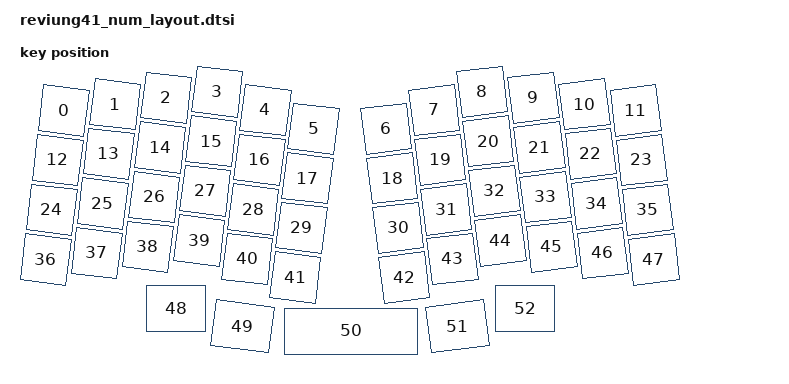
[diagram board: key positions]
#include <physical_layouts.dtsi>

/ {
    reviung41_num_layout: reviung41_num_layout {
        compatible = "zmk,physical-layout";
        display-name = "reviung41#";

        kscan = <&kscan_0>;
        transform = <&matrix_transform_0>;

        keys  //                     w   h    x    y     rot    rx    ry
            = <&key_physical_attrs 100 100    0   75     700   400   335>
            , <&key_physical_attrs 100 100  100   50     700   400   335>
            , <&key_physical_attrs 100 100  200   25     700   400   335>
            , <&key_physical_attrs 100 100  300    0     700   400   335>
            , <&key_physical_attrs 100 100  400   25     700   400   335>
            , <&key_physical_attrs 100 100  500   50     700   400   335>
            , <&key_physical_attrs 100 100  700   50  (-700)   900   335>
            , <&key_physical_attrs 100 100  800   25  (-700)   900   335>
            , <&key_physical_attrs 100 100  900    0  (-700)   900   335>
            , <&key_physical_attrs 100 100 1000   25  (-700)   900   335>
            , <&key_physical_attrs 100 100 1100   50  (-700)   900   335>
            , <&key_physical_attrs 100 100 1200   75  (-700)   900   335>
            , <&key_physical_attrs 100 100    0  175     700   400   335>
            , <&key_physical_attrs 100 100  100  150     700   400   335>
            , <&key_physical_attrs 100 100  200  125     700   400   335>
            , <&key_physical_attrs 100 100  300  100     700   400   335>
            , <&key_physical_attrs 100 100  400  125     700   400   335>
            , <&key_physical_attrs 100 100  500  150     700   400   335>
            , <&key_physical_attrs 100 100  700  150  (-700)   900   335>
            , <&key_physical_attrs 100 100  800  125  (-700)   900   335>
            , <&key_physical_attrs 100 100  900  100  (-700)   900   335>
            , <&key_physical_attrs 100 100 1000  125  (-700)   900   335>
            , <&key_physical_attrs 100 100 1100  150  (-700)   900   335>
            , <&key_physical_attrs 100 100 1200  175  (-700)   900   335>
            , <&key_physical_attrs 100 100    0  275     700   400   335>
            , <&key_physical_attrs 100 100  100  250     700   400   335>
            , <&key_physical_attrs 100 100  200  225     700   400   335>
            , <&key_physical_attrs 100 100  300  200     700   400   335>
            , <&key_physical_attrs 100 100  400  225     700   400   335>
            , <&key_physical_attrs 100 100  500  250     700   400   335>
            , <&key_physical_attrs 100 100  700  250  (-700)   900   335>
            , <&key_physical_attrs 100 100  800  225  (-700)   900   335>
            , <&key_physical_attrs 100 100  900  200  (-700)   900   335>
            , <&key_physical_attrs 100 100 1000  225  (-700)   900   335>
            , <&key_physical_attrs 100 100 1100  250  (-700)   900   335>
            , <&key_physical_attrs 100 100 1200  275  (-700)   900   335>
            , <&key_physical_attrs 100 100    0  375     700   400   335>
            , <&key_physical_attrs 100 100  100  350     700   400   335>
            , <&key_physical_attrs 100 100  200  325     700   400   335>
            , <&key_physical_attrs 100 100  300  300     700   400   335>
            , <&key_physical_attrs 100 100  400  325     700   400   335>
            , <&key_physical_attrs 100 100  500  350     700   400   335>
            , <&key_physical_attrs 100 100  700  350  (-700)   900   335>
            , <&key_physical_attrs 100 100  800  325  (-700)   900   335>
            , <&key_physical_attrs 100 100  900  300  (-700)   900   335>
            , <&key_physical_attrs 100 100 1000  325  (-700)   900   335>
            , <&key_physical_attrs 100 100 1100  350  (-700)   900   335>
            , <&key_physical_attrs 100 100 1200  375  (-700)   900   335>
            , <&key_physical_attrs 125 100  240  430       0     0     0>
            , <&key_physical_attrs 125 100  395  472     700   500   335>
            , <&key_physical_attrs 275 100  515  475       0     0     0>
            , <&key_physical_attrs 125 100  780  483  (-700)   710   335>
            , <&key_physical_attrs 125 100  938  430       0     0     0>
            ;
    };
};
